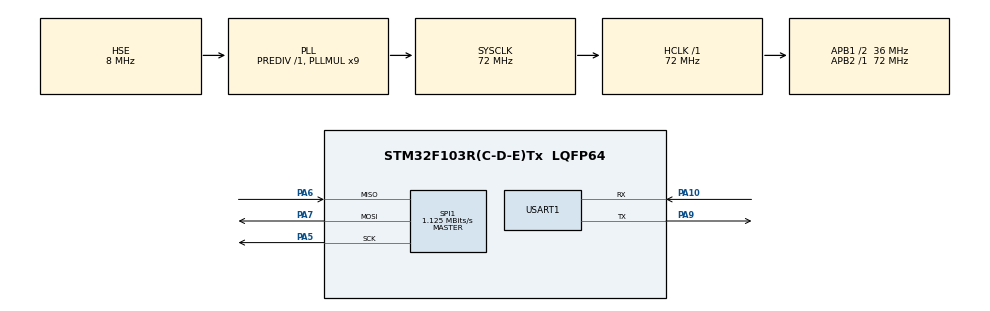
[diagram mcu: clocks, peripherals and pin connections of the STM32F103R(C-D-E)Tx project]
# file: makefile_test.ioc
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Mcu.Family=STM32F1
Mcu.Name=STM32F103R(C-D-E)Tx
Mcu.Package=LQFP64
NVIC.PriorityGroup=NVIC_PRIORITYGROUP_4
PA10.Mode=Asynchronous
PA10.Signal=USART1_RX
PA13.Mode=Serial_Wire
PA13.Signal=SYS_JTMS-SWDIO
PA14.Mode=Serial_Wire
PA14.Signal=SYS_JTCK-SWCLK
PA5.Mode=Full_Duplex_Master
PA5.Signal=SPI1_SCK
PA6.Mode=Full_Duplex_Master
PA6.Signal=SPI1_MISO
PA7.Mode=Full_Duplex_Master
PA7.Signal=SPI1_MOSI
PA9.Mode=Asynchronous
PA9.Signal=USART1_TX
PD0-OSC_IN.Mode=HSE-External-Oscillator
PD0-OSC_IN.Signal=RCC_OSC_IN
PD1-OSC_OUT.Mode=HSE-External-Oscillator
PD1-OSC_OUT.Signal=RCC_OSC_OUT
ProjectManager.HeapSize=0x200
ProjectManager.StackSize=0x400
ProjectManager.TargetToolchain=MDK-ARM V5.32
RCC.AHBFreq_Value=72000000
RCC.APB1CLKDivider=RCC_HCLK_DIV2
RCC.APB1Freq_Value=36000000
RCC.APB1TimFreq_Value=72000000
RCC.APB2Freq_Value=72000000
RCC.APB2TimFreq_Value=72000000
RCC.HCLKFreq_Value=72000000
RCC.PLLMUL=RCC_PLL_MUL9
RCC.PLLSourceVirtual=RCC_PLLSOURCE_HSE
RCC.SYSCLKFreq_VALUE=72000000
RCC.SYSCLKSource=RCC_SYSCLKSOURCE_PLLCLK
RCC.USBFreq_Value=72000000
SPI1.BaudRatePrescaler=SPI_BAUDRATEPRESCALER_64
SPI1.CalculateBaudRate=1.125 MBits/s
SPI1.Direction=SPI_DIRECTION_2LINES
SPI1.Mode=SPI_MODE_MASTER
SPI1.VirtualType=VM_MASTER
USART1.VirtualMode=VM_ASYNC
board=custom

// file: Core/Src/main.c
/* USER CODE BEGIN Header */
/**
  ******************************************************************************
  * @file           : main.c
  * @brief          : Main program body
  ******************************************************************************
  * @attention
  *
  * Copyright (c) 2024 STMicroelectronics.
  * All rights reserved.
  *
  * This software is licensed under terms that can be found in the LICENSE file
  * in the root directory of this software component.
  * If no LICENSE file comes with this software, it is provided AS-IS.
  *
  ******************************************************************************
  */
/* USER CODE END Header */
#include "main.h"
#include "mx_spi.h"
#include "usart.h"
#include "gpio.h"

/* USER CODE BEGIN Includes */
#include "include/mr_lib.h"
#include "mr_board.h"
/* USER CODE END Includes */

/* USER CODE BEGIN PM */

// #define LED_PIN_NUMBER 50 //PD2
#define LED_PIN_NUMBER 8 //PA6
#define SPI_CS_PIN_NUMBER 4 //PA4
/* USER CODE END PM */

void SystemClock_Config(void);

/* USER CODE BEGIN 0 */
struct mr_spi_dev host_dev;
int host_ds = -1;

void spi_init(void)
{
    int ret = MR_EOK;

    ret = mr_spi_dev_register(&host_dev, "spi1/host", SPI_CS_PIN_NUMBER, MR_SPI_CS_ACTIVE_LOW);
    if (ret < 0)
    {
        mr_printf("host spi device register failed: %d\r\n", mr_strerror(ret));
        return;
    }

    host_ds = mr_dev_open("spi1/host", MR_O_RDWR);
    if (host_ds < 0)
    {
        mr_printf("host spi device open failed: %d\r\n", mr_strerror(ret));
        return;
    }
//    mr_dev_ioctl(host_ds, MR_IOC_SPI_SET_REG, MR_MAKE_LOCAL(int, SPI_CS_PIN_NUMBER));
}
MR_INIT_APP_EXPORT(spi_init);
/* USER CODE END 0 */

int main(void)
{

  /* MCU Configuration--------------------------------------------------------*/

  /* Reset of all peripherals, Initializes the Flash interface and the Systick. */
  HAL_Init();

  /* Configure the system clock */
  SystemClock_Config();

  /* Initialize all configured peripherals */
  MX_GPIO_Init();
  MX_USART1_UART_Init();
  MX_SPI1_Init();
  /* USER CODE BEGIN 2 */

  mr_auto_init();

 int ds = mr_dev_open("serial1", MR_O_RDWR);
 int ds_io = mr_dev_open("pin", MR_O_WRONLY);
 mr_dev_write(ds, "Hello World\r\n", sizeof("Hello World\r\n"));
 mr_dev_write(ds, "Hello MR LIBRARY\r\n", sizeof("Hello MR LIBRARY\r\n"));
 mr_dev_ioctl(ds_io, MR_IOC_PIN_SET_NUMBER, MR_MAKE_LOCAL(int, LED_PIN_NUMBER));
 mr_dev_ioctl(ds_io, MR_IOC_PIN_SET_MODE, MR_MAKE_LOCAL(int, MR_PIN_MODE_OUTPUT));

 uint8_t wr_buf[] = {0x01, 0x02, 0x03, 0x04};
 mr_dev_write(host_ds, wr_buf, sizeof(wr_buf));
// uint8_t rd_buf[4] = {0};
// mr_dev_read(ds, rd_buf, sizeof(rd_buf));
// mr_dev_close(ds);
  /* USER CODE END 2 */

  /* Infinite loop */
  /* USER CODE BEGIN WHILE */
  while (1)
  {
    mr_dev_write(ds_io, MR_MAKE_LOCAL(uint8_t, 1), sizeof(uint8_t));
    mr_delay_ms(500);
    mr_dev_write(ds_io, MR_MAKE_LOCAL(uint8_t, 0), sizeof(uint8_t));
    mr_delay_ms(500);
    /* USER CODE END WHILE */

  }
}

void SystemClock_Config(void)
{
  RCC_OscInitTypeDef RCC_OscInitStruct = {0};
  RCC_ClkInitTypeDef RCC_ClkInitStruct = {0};

  /** Initializes the RCC Oscillators according to the specified parameters
  * in the RCC_OscInitTypeDef structure.
  */
  RCC_OscInitStruct.OscillatorType = RCC_OSCILLATORTYPE_HSE;
  RCC_OscInitStruct.HSEState = RCC_HSE_ON;
  RCC_OscInitStruct.HSEPredivValue = RCC_HSE_PREDIV_DIV1;
  RCC_OscInitStruct.HSIState = RCC_HSI_ON;
  RCC_OscInitStruct.PLL.PLLState = RCC_PLL_ON;
  RCC_OscInitStruct.PLL.PLLSource = RCC_PLLSOURCE_HSE;
  RCC_OscInitStruct.PLL.PLLMUL = RCC_PLL_MUL9;
  if (HAL_RCC_OscConfig(&RCC_OscInitStruct) != HAL_OK)
  {
    Error_Handler();
  }

  /** Initializes the CPU, AHB and APB buses clocks
  */
  RCC_ClkInitStruct.ClockType = RCC_CLOCKTYPE_HCLK|RCC_CLOCKTYPE_SYSCLK
                              |RCC_CLOCKTYPE_PCLK1|RCC_CLOCKTYPE_PCLK2;
  RCC_ClkInitStruct.SYSCLKSource = RCC_SYSCLKSOURCE_PLLCLK;
  RCC_ClkInitStruct.AHBCLKDivider = RCC_SYSCLK_DIV1;
  RCC_ClkInitStruct.APB1CLKDivider = RCC_HCLK_DIV2;
  RCC_ClkInitStruct.APB2CLKDivider = RCC_HCLK_DIV1;

  if (HAL_RCC_ClockConfig(&RCC_ClkInitStruct, FLASH_LATENCY_2) != HAL_OK)
  {
    Error_Handler();
  }
}

void Error_Handler(void)
{
  __disable_irq();
  while (1)
  {
  }
}
